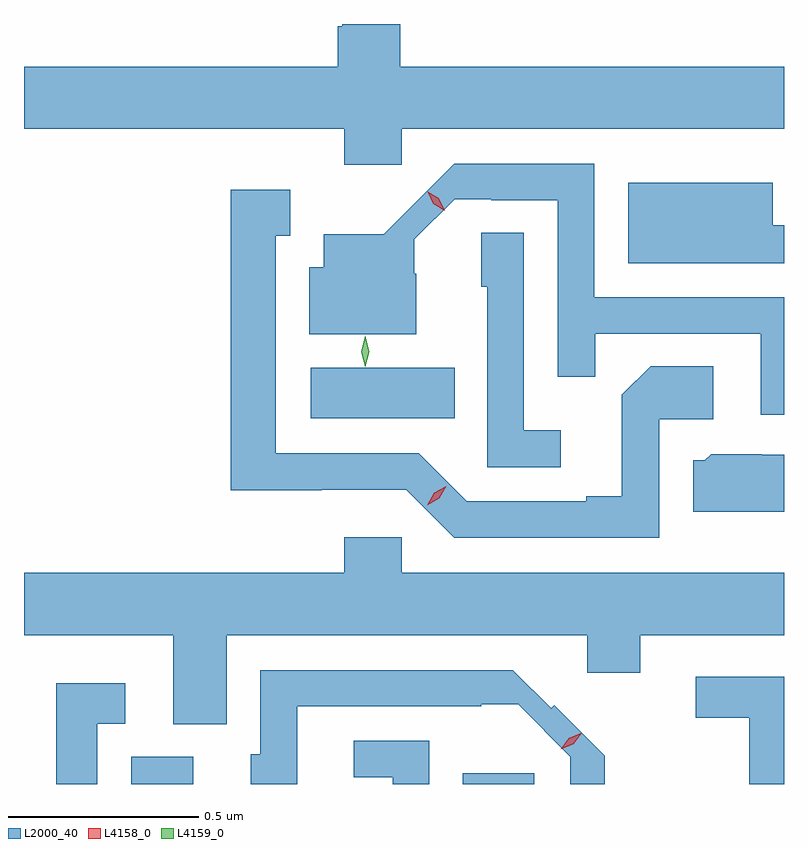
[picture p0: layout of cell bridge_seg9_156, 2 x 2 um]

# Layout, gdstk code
import gdstk
lib = gdstk.Library(unit=1e-6, precision=1e-09)
def R(c, l, rs):  # rectangles x0, y0, x1, y1
    for r in rs: c.add(gdstk.rectangle(r[:2], r[2:], *l))
def P(c, l, *ps):  # polygons
    for p in ps: c.add(gdstk.Polygon(p, *l))
L2000_40 = (2000, 40)
L4158_0 = (4158, 0)
L4159_0 = (4159, 0)

bridge_seg9_156 = lib.new_cell('bridge_seg9_156')
R(bridge_seg9_156, L2000_40, [(618.2,1205.352,618.364,1205.424), (619.073,1205.352,619.261,1205.38), (618.672,1206.314,619.052,1206.448)])
P(bridge_seg9_156, L2000_40, [(618.912,1207.076),(619.918,1207.076),(619.918,1207.24),(618.908,1207.24),(618.908,1207.352),(618.755,1207.352),(618.755,1207.346),(618.743,1207.346),(618.743,1207.24),(617.918,1207.24),(617.918,1207.076),(618.761,1207.076),(618.761,1206.981),(618.912,1206.981)],
  [(619.918,1206.633),(619.419,1206.633),(619.419,1206.984),(619.05,1206.984),(618.865,1206.799),(618.707,1206.799),(618.707,1206.712),(618.668,1206.712),(618.668,1206.536),(618.95,1206.536),(618.95,1206.695),(618.945,1206.695),(618.945,1206.785),(619.051,1206.891),(619.147,1206.891),(619.147,1206.888),(619.323,1206.888),(619.323,1206.424),(619.421,1206.424),(619.421,1206.537),(619.857,1206.537),(619.857,1206.324),(619.918,1206.324)],
  [(619.918,1206.823),(619.888,1206.823),(619.888,1206.934),(619.508,1206.934),(619.508,1206.722),(619.918,1206.722)],
  [(619.59,1206.312),(619.732,1206.312),(619.732,1206.452),(619.567,1206.452),(619.491,1206.376),(619.491,1206.109),(619.397,1206.109),(619.397,1206.096),(619.083,1206.096),(618.957,1206.222),(618.58,1206.222),(618.58,1206.795),(618.619,1206.795),(618.619,1206.916),(618.462,1206.916),(618.462,1206.125),(618.702,1206.125),(618.702,1206.126),(618.924,1206.126),(619.05,1206),(619.59,1206)],
  [(619.33,1206.283),(619.233,1206.283),(619.233,1206.803),(619.121,1206.803),(619.121,1206.66),(619.137,1206.66),(619.137,1206.186),(619.33,1206.186)],
  [(619.918,1206.219),(619.86,1206.219),(619.86,1206.22),(619.726,1206.22),(619.71,1206.204),(619.679,1206.204),(619.679,1206.068),(619.918,1206.068)],
  [(618.451,1205.744),(619.4,1205.744),(619.4,1205.645),(619.54,1205.645),(619.54,1205.744),(619.918,1205.744),(619.918,1205.908),(618.912,1205.908),(618.912,1206.001),(618.761,1206.001),(618.761,1205.908),(617.918,1205.908),(617.918,1205.744),(618.311,1205.744),(618.311,1205.509),(618.451,1205.509)],
  [(618.637,1205.556),(619.121,1205.556),(619.121,1205.562),(619.218,1205.562),(619.356,1205.424),(619.356,1205.352),(619.446,1205.352),(619.446,1205.427),(619.314,1205.559),(619.306,1205.551),(619.204,1205.652),(618.54,1205.652),(618.54,1205.43),(618.515,1205.43),(618.515,1205.352),(618.637,1205.352)],
  [(619.918,1205.634),(619.686,1205.634),(619.686,1205.526),(619.826,1205.526),(619.826,1205.352),(619.918,1205.352)],
  [(618.111,1205.511),(618.184,1205.511),(618.184,1205.617),(618.003,1205.617),(618.003,1205.352),(618.111,1205.352)],
  [(618.984,1205.466),(618.786,1205.466),(618.786,1205.37),(618.888,1205.37),(618.888,1205.352),(618.984,1205.352)])
P(bridge_seg9_156, L4158_0, [(619.025,1206.861),(618.995,1206.879),(618.98,1206.911),(618.98,1206.911),(618.98,1206.911),(619.01,1206.893),(619.025,1206.861),(619.025,1206.861)],
  [(619.331,1205.443),(619.331,1205.444),(619.351,1205.472),(619.383,1205.485),(619.384,1205.485),(619.384,1205.484),(619.363,1205.456),(619.331,1205.443)],
  [(618.979,1206.086),(618.979,1206.086),(618.997,1206.118),(619.029,1206.136),(619.029,1206.136),(619.029,1206.136),(619.011,1206.104),(618.979,1206.086)])
P(bridge_seg9_156, L4159_0, [(618.816,1206.45),(618.816,1206.45),(618.806,1206.49),(618.816,1206.531),(618.816,1206.531),(618.816,1206.531),(618.826,1206.49),(618.816,1206.45)])

lib.write_gds('bridge_seg9_156.gds')
